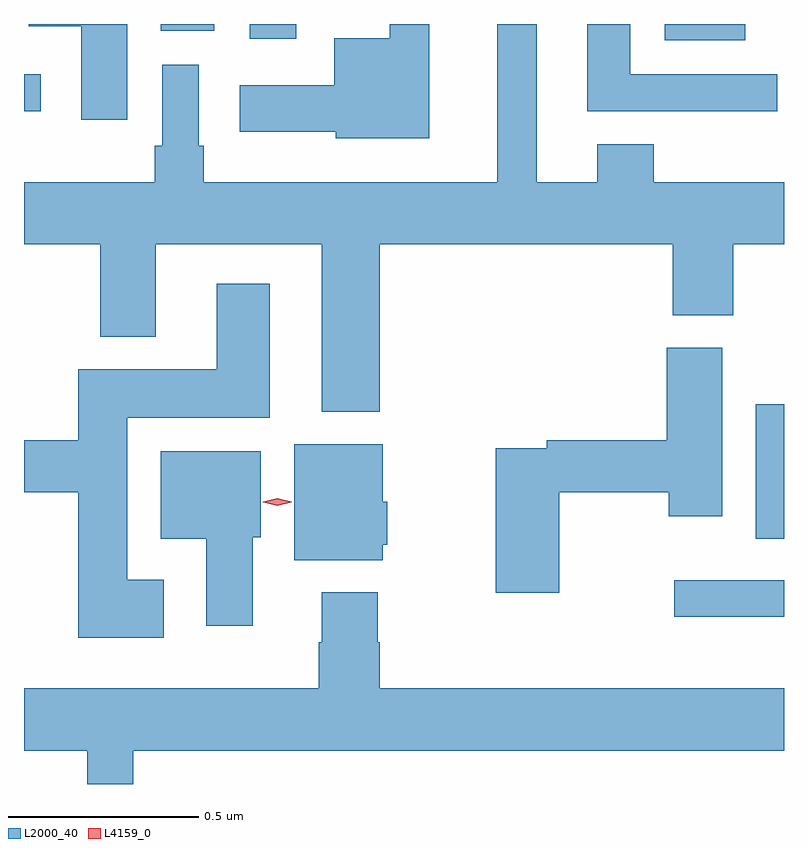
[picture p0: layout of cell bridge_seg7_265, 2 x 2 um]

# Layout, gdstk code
import gdstk
lib = gdstk.Library(unit=1e-6, precision=1e-09)
def R(c, l, rs):  # rectangles x0, y0, x1, y1
    for r in rs: c.add(gdstk.rectangle(r[:2], r[2:], *l))
def P(c, l, *ps):  # polygons
    for p in ps: c.add(gdstk.Polygon(p, *l))
L2000_40 = (2000, 40)
L4159_0 = (4159, 0)

bridge_seg7_265 = lib.new_cell('bridge_seg7_265')
R(bridge_seg7_265, L2000_40, [(169.809,1062.24,170.098,1062.336), (170.024,1062.446,170.098,1062.799), (168.098,1063.571,168.142,1063.668), (169.784,1063.757,169.996,1063.8), (168.692,1063.761,168.814,1063.8), (168.458,1063.782,168.598,1063.8)])
P(bridge_seg7_265, L2000_40, [(170.08,1063.668),(169.693,1063.668),(169.693,1063.8),(169.58,1063.8),(169.58,1063.571),(170.08,1063.571)],
  [(169.034,1063.22),(169.805,1063.22),(169.805,1063.033),(169.965,1063.033),(169.965,1063.22),(170.098,1063.22),(170.098,1063.384),(169.755,1063.384),(169.755,1063.483),(169.607,1063.483),(169.607,1063.384),(169.447,1063.384),(169.447,1063.8),(169.343,1063.8),(169.343,1063.384),(168.571,1063.384),(168.571,1063.48),(168.558,1063.48),(168.558,1063.693),(168.462,1063.693),(168.462,1063.48),(168.442,1063.48),(168.442,1063.384),(168.098,1063.384),(168.098,1063.22),(168.298,1063.22),(168.298,1062.977),(168.445,1062.977),(168.445,1063.22),(168.881,1063.22),(168.881,1062.779),(169.034,1062.779)],
  [(168.37,1063.8),(168.11,1063.8),(168.11,1063.794),(168.248,1063.794),(168.248,1063.548),(168.37,1063.548)],
  [(169.165,1063.8),(169.061,1063.8),(169.061,1063.762),(168.914,1063.762),(168.914,1063.639),(168.666,1063.639),(168.666,1063.517),(168.918,1063.517),(168.918,1063.499),(169.165,1063.499)],
  [(168.466,1062.337),(168.37,1062.337),(168.37,1062.764),(168.745,1062.764),(168.745,1063.117),(168.605,1063.117),(168.605,1062.892),(168.241,1062.892),(168.241,1062.704),(168.098,1062.704),(168.098,1062.568),(168.241,1062.568),(168.241,1062.185),(168.466,1062.185)],
  [(169.506,1062.568),(169.795,1062.568),(169.795,1062.504),(169.936,1062.504),(169.936,1062.948),(169.79,1062.948),(169.79,1062.704),(169.474,1062.704),(169.474,1062.684),(169.34,1062.684),(169.34,1062.303),(169.506,1062.303)],
  [(169.042,1062.429),(169.054,1062.429),(169.054,1062.543),(169.042,1062.543),(169.042,1062.694),(168.809,1062.694),(168.809,1062.389),(169.042,1062.389)],
  [(168.7,1062.45),(168.721,1062.45),(168.721,1062.676),(168.458,1062.676),(168.458,1062.446),(168.578,1062.446),(168.578,1062.216),(168.7,1062.216)],
  [(168.385,1061.888),(170.098,1061.888),(170.098,1062.052),(169.034,1062.052),(169.034,1062.173),(169.029,1062.173),(169.029,1062.304),(168.881,1062.304),(168.881,1062.173),(168.874,1062.173),(168.874,1062.052),(168.098,1062.052),(168.098,1061.888),(168.264,1061.888),(168.264,1061.8),(168.385,1061.8)])
P(bridge_seg7_265, L4159_0, [(168.764,1062.532),(168.727,1062.542),(168.726,1062.542),(168.727,1062.543),(168.764,1062.552),(168.802,1062.543),(168.802,1062.542),(168.802,1062.542)])

lib.write_gds('bridge_seg7_265.gds')
